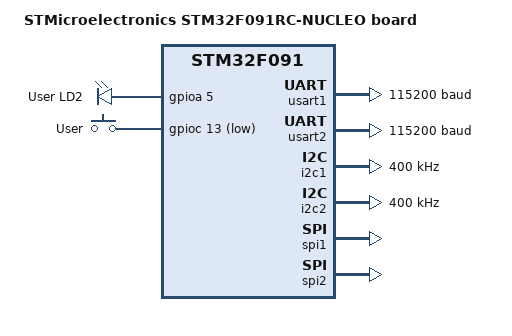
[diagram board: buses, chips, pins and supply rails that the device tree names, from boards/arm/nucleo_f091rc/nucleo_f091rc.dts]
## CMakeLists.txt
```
cmake_minimum_required(VERSION 3.13.1)
# set(BOARD nrf52_pca10040)
set(BOARD_ROOT ${CMAKE_CURRENT_LIST_DIR})
# set(BOARD tc_bait_p1)
set(BOARD nucleo_f091rc)

include($ENV{ZEPHYR_BASE}/cmake/app/boilerplate.cmake NO_POLICY_SCOPE)
project(toggle_led)
set (CMAKE_CXX_FLAGS "${CMAKE_CXX_FLAGS} -fpermissive")


list(APPEND HEADERS
    "${PROJECT_BINARY_DIR}/include/generated"
    "${PROJECT_BINARY_DIR}/zephyr/include/generated"
    "${PROJECT_SOURCE_DIR}/include"
    "${PROJECT_SOURCE_DIR}/../../zeta/"
    )

list(APPEND SOURCES
    "${PROJECT_SOURCE_DIR}/src/main.cpp"
    # "${PROJECT_SOURCE_DIR}/src/main.c"
    "${PROJECT_SOURCE_DIR}/../../zeta/zeta.cpp"
    )


include_directories(${HEADERS})
target_sources(app PRIVATE ${SOURCES})

include(${PROJECT_SOURCE_DIR}/mcumgr.cmake NO_POLICY_SCOPE)
# target_include_directories(app PRIVATE $ENV{ZEPHYR_BASE}/subsys/fs/nvs)
```

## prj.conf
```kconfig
CONFIG_CPLUSPLUS=y
CONFIG_GPIO=y
# CONFIG_SHELL=y
# CONFIG_SHELL_BACKENDS=y
# CONFIG_SHELL_BACKEND_SERIAL=y

CONFIG_LOG=y
CONFIG_LOG_DEFAULT_LEVEL=4
CONFIG_BOOTLOADER_MCUBOOT=y
# CONFIG_MCUMGR=y
# CONFIG_MCUMGR_SMP_UART=y
# CONFIG_UART_MCUMGR_ON_DEV_NAME="UART_0"

CONFIG_FLASH=y
CONFIG_NVS_PROTECT_FLASH=y
#CONFIG_FLASH_MAP=y
#CONFIG_FLASH_PAGE_LAYOUT=y

#
# File Systems
#
# CONFIG_FILE_SYSTEM is not set
CONFIG_NVS=y
# CONFIG_NVS_LOG_LEVEL_OFF is not set
# CONFIG_NVS_LOG_LEVEL_ERR is not set
# CONFIG_NVS_LOG_LEVEL_WRN is not set
CONFIG_NVS_LOG_LEVEL_INF=y
# CONFIG_NVS_LOG_LEVEL_DBG is not set
CONFIG_NVS_LOG_LEVEL=3
# CONFIG_NVS_PROTECT_FLASH=y

#
# Watchdog
#
CONFIG_WATCHDOG=y
CONFIG_WDT_0_NAME="WATCHDOG_0"
# CONFIG_WDT_DISABLE_AT_BOOT is not set
# CONFIG_WDT_LOG_LEVEL_OFF is not set
# CONFIG_WDT_LOG_LEVEL_ERR is not set
# CONFIG_WDT_LOG_LEVEL_WRN is not set
CONFIG_WDT_LOG_LEVEL_INF=y
# CONFIG_WDT_LOG_LEVEL_DBG is not set
CONFIG_WDT_LOG_LEVEL=3
# CONFIG_WDT_QMSI is not set
CONFIG_IWDG_STM32_START_AT_BOOT=y
# 20 seconds
CONFIG_IWDG_STM32_TIMEOUT=20000000

#
# Management
#
CONFIG_MCUMGR=y
CONFIG_MCUMGR_CMD_IMG_MGMT=y
CONFIG_IMG_MGMT_UL_CHUNK_SIZE=512
# CONFIG_MCUMGR_CMD_LOG_MGMT is not set
# CONFIG_MCUMGR_CMD_OS_MGMT is not set
CONFIG_APP_LINK_WITH_MCUMGR=y
# CONFIG_MCUMGR_SMP_BT is not set
# CONFIG_MCUMGR_SMP_SHELL is not set
CONFIG_MCUMGR_SMP_UART=y
CONFIG_MCUMGR_SMP_UART_MTU=256
CONFIG_MCUMGR_BUF_COUNT=4
CONFIG_MCUMGR_BUF_SIZE=384
CONFIG_MCUMGR_BUF_USER_DATA_SIZE=4
CONFIG_UART_MCUMGR=y
# CONFIG_UART_MCUMGR_ON_DEV_NAME="UART_2"
CONFIG_UART_MCUMGR_RX_BUF_SIZE=128
CONFIG_UART_MCUMGR_RX_BUF_COUNT=2
CONFIG_NET_BUF=y
CONFIG_NET_BUF_USER_DATA_SIZE=7
# Enable flash operations.
CONFIG_FLASH=y
# Some command handlers require a large stack.
CONFIG_SYSTEM_WORKQUEUE_STACK_SIZE=2048
CONFIG_REBOOT=y
```

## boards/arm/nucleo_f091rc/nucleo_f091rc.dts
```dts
/*
 * Copyright (c) 2017 Bobby Noelte
 *
 * SPDX-License-Identifier: Apache-2.0
 */

/dts-v1/;
#include <st/f0/stm32f091Xc.dtsi>

/ {
	model = "STMicroelectronics STM32F091RC-NUCLEO board";
	compatible = "st,stm32f091rc-nucleo", "st,stm32f091";

	chosen {
		zephyr,console = &usart2;
		zephyr,shell-uart = &usart2;
		zephyr,sram = &sram0;
		zephyr,flash = &flash0;
	};

	leds {
		compatible = "gpio-leds";
		green_led_2: led_2 {
			gpios = <&gpioa 5 GPIO_INT_ACTIVE_HIGH>;
			label = "User LD2";
		};
	};

	gpio_keys {
		compatible = "gpio-keys";
		user_button: button {
			label = "User";
			gpios = <&gpioc 13 GPIO_INT_ACTIVE_LOW>;
		};
	};

	aliases {
		led0 = &green_led_2;
		sw0 = &user_button;
	};
};

&usart1 {
	current-speed = <115200>;
	pinctrl-0 = <&usart1_pins_a>;
	pinctrl-names = "default";
};

&usart2 {
	current-speed = <115200>;
	pinctrl-0 = <&usart2_pins_a>;
	pinctrl-names = "default";
	status = "ok";
};

arduino_i2c: &i2c1 {
	status = "ok";
	clock-frequency = <I2C_BITRATE_FAST>;
};

&i2c2 {
	status = "ok";
	clock-frequency = <I2C_BITRATE_FAST>;
};

arduino_spi: &spi1 {
	status = "ok";
};

&spi2 {
	status = "ok";
};

&flash0 {
	/*
	 * For more information, see:
	 * http://docs.zephyrproject.org/latest/devices/dts/flash_partitions.html
	 */
	partitions {
		compatible = "fixed-partitions";
		#address-cells = <1>;
		#size-cells = <1>;

		boot_partition: partition@0 {
			label = "mcuboot";
			reg = <0x00000000 0xc000>; // 12 sectors 48KB
		};
		slot0_partition: partition@c000 {
			label = "image-0";
			reg = <0x0000c000 0x14000>; // 20 sectors 80KB
		};
		slot1_partition: partition@20000 {
			label = "image-1";
			reg = <0x00020000 0x14000>; // 20 sectors 80KB
		};
		scratch_partition: partition@34000 {
			label = "image-scratch";
			reg = <0x0034000 0x4000>; // 4 sectors 32KB
		};
		storage_partition: partition@38000 {
			label = "storage";
			reg = <0x0038000 0x8000>; // 8 sectors 32KB
			// reg = <0x003c000 0x1000>; // 6 sectors 24KB
		};
	};
};
```

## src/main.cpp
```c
/*
 * Copyright (c) 2015-2016 Wind River Systems, Inc.
 *
 * Licensed under the Apache License, Version 2.0 (the "License");
 * you may not use this file except in compliance with the License.
 * You may obtain a copy of the License at
 *
 *     http://www.apache.org/licenses/LICENSE-2.0
 *
 * Unless required by applicable law or agreed to in writing, software
 * distributed under the License is distributed on an "AS IS" BASIS,
 * WITHOUT WARRANTIES OR CONDITIONS OF ANY KIND, either express or implied.
 * See the License for the specific language governing permissions and
 * limitations under the License.
 */


#include <device.h>
#include <errno.h>
#include <gpio.h>
#include <logging/log.h>
#include <misc/printk.h>
#include <nvs/nvs.h>
#include <shell/shell.h>
#include <shell/shell_fprintf.h>
#include <string.h>
#include <watchdog.h>
#include <zephyr.h>

#include "zeta.hpp"

LOG_MODULE_REGISTER(MAIN);

#define LED_PORT LED0_GPIO_CONTROLLER
#define LED0 LED0_GPIO_PIN

#define BUTTON0_PIN SW0_GPIO_PIN
#define BUTTON_GPIO_CONTROLLER SW0_GPIO_CONTROLLER

#define NVS_SECTOR_SIZE 4096
#define NVS_SECTOR_COUNT 8
#define NVS_STORAGE_OFFSET FLASH_AREA_STORAGE_OFFSET

#ifdef CONFIG_MCUMGR_CMD_IMG_MGMT
#include "img_mgmt/img_mgmt.h"
#endif

typedef enum { TC_MODE, TC_PERIOD } property_e;

struct device *wdt_dev;

zt::GPIOController gpioController(BUTTON_GPIO_CONTROLLER,
                                  [](struct device *dev, struct gpio_callback *cb,
                                     u32_t pins) {
                                      gpioController.notifyObservers(dev, pins);
                                  });


int main(void)
{
#ifdef CONFIG_MCUMGR_CMD_IMG_MGMT
    img_mgmt_register_group();
#endif

    static struct nvs_fs fs = {0};
    fs.sector_size          = NVS_SECTOR_SIZE;
    fs.sector_count         = NVS_SECTOR_COUNT;
    fs.offset               = NVS_STORAGE_OFFSET;

    int error = nvs_init(&fs, DT_FLASH_DEV_NAME);
    if (error) {
        LOG_ERR("Could not load %s, error code %d!\n", DT_FLASH_DEV_NAME, error);
    } else {
        u8_t data = 0;
        int rc    = nvs_read(&fs, TC_MODE, &data, 1);
        if (rc == 1) {
            LOG_DBG("Data recovered: %02Xh\n", data);
        } else {
            data = 0xFA;
            rc   = nvs_write(&fs, TC_MODE, &data, 1);
            if (rc == 1) {
                LOG_DBG("Data persisted: %02Xh\n", data);
            } else {
                LOG_ERR("Could not persist the data %02Xh on flash", data);
            }
        }
    }
    zt::DigitalOutput led0(ZT_ALLOC_BYTE(), LED_PORT, LED0);
    zt::DigitalInput button0(ZT_ALLOC_BYTES(1), BUTTON_GPIO_CONTROLLER, BUTTON0_PIN);
    button0.connect(&led0, 't');
    gpioController.add_observer(&button0);

    wdt_dev = device_get_binding(CONFIG_WDT_0_NAME);
    LOG_WRN("Starting a new mainloop right now!");
    while (1) {
        k_sleep(K_SECONDS(15));
        wdt_reload(wdt_dev);  // feed/reload watchdog
    }

    return 0;
}
```

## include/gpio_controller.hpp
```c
/**!
 * @file gpio_controller.hpp
 * @author Rodrigo Peixoto (rodrigopex@edge.ufal.br)
 * @brief
 * @version 0.1
 * @date 2019-01-28
 *
 */

#include <device.h>
#include <gpio.h>
#include <misc/printk.h>
#include <zephyr.h>

#define MAX_INPUT_PINS 4

#include "pin_interface.hpp"


class GPIOController
{
   public:
    void init(PinInput *pin_input)
    {
        if (pin_input && m_device == nullptr) {
            m_device = pin_input->device();
            gpio_add_callback(m_device, &m_gpio_cb);
        }
        this->add_callback(pin_input);
    }
    int add_callback(PinInput *pin_input)
    {
        m_pin_mask = m_pin_mask | BIT(pin_input->pin());
        gpio_init_callback(&m_gpio_cb, &GPIOController::changed, m_pin_mask);
        printk("Error 2: %d\n", gpio_pin_enable_callback(m_device, pin_input->pin()));
        s8_t available = -1;
        bool exists    = false;
        for (u8_t i = 0; i < MAX_INPUT_PINS; i++) {
            if (m_pins[i] == nullptr) {
                available = i;
                break;
            } else if (m_pins[i] == pin_input) {
                exists = true;
                break;
            }
        }
        if (!exists) {
            if (available >= 0) {
                m_pins[available] = pin_input;
                printk("Pin added at %d\n", available);
            } else {
                printk("No more room for this item\n");
            }
        }
        return 0;
    }
    static void changed(struct device *dev, struct gpio_callback *cb, u32_t pins)
    {
        GPIOController *c = GPIOController::instance();
        for (u8_t i = 0; c->m_pins[i] && (i < MAX_INPUT_PINS); i++) {
            if (BIT(c->m_pins[i]->pin()) & pins) {
                c->m_pins[i]->callback();
            }
        }
    }
    static GPIOController *instance()
    {
        return &m_instance;
    }

   private:
    GPIOController() : m_device(nullptr)
    {
        m_pin_mask = 0;
        for (u8_t i = 0; i < MAX_INPUT_PINS; i++) {
            m_pins[i] = nullptr;
        }
    }
    struct gpio_callback m_gpio_cb;
    struct device *m_device;
    PinInput *m_pins[MAX_INPUT_PINS];
    static GPIOController m_instance;
    u32_t m_pin_mask;
};
```

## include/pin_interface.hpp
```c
#include <device.h>
#include <gpio.h>
#include <misc/printk.h>
#include <string.h>
#include <zephyr.h>

#define LED_PORT LED0_GPIO_CONTROLLER
#define LED LED1_GPIO_PIN

#define BUTTON0_PIN SW0_GPIO_PIN
#define BUTTON1_PIN SW1_GPIO_PIN
#define BUTTON2_PIN SW2_GPIO_PIN
#define BUTTON3_PIN SW3_GPIO_PIN
#define BUTTON_GPIO_CONTROLLER SW0_GPIO_CONTROLLER

typedef enum {
    VOLATILE_FLAG  = 0,
    IN_FLASH_FLAG  = 1 << 0,
    READ_ONLY_FLAG = 1 << 1
} PropertyFlag;

class Property
{
   public:
    virtual u8_t *data()
    {
        return m_data
    }
    virtual int setData(u8_t *data, size_t size)
    {
        if (size == m_size) {
            memcpy(m_data, data, size);
        }
    }
    virtual size_t size();
    virtual int notify() = 0;

   protected:
    u8_t m_changed;
    u8_t m_flags;
    size_t m_size;
    u8_t *m_data;
};

class HardProperty : public Property
{
   public:
    virtual struct device *device() = 0;
    virtual u32_t pin()             = 0;
    virtual int configureFlags()    = 0;
    virtual int read(u8_t *state)   = 0;
    virtual int write(u8_t state)   = 0;
};

class PinInput : public HardProperty
{
   protected:
    struct device *m_device;
    u32_t m_pin;

   public:
    PinInput(u8_t *data, const char *controller, u32_t pin) : m_pin(pin)
    {
        m_data   = data;
        m_device = device_get_binding(controller);
        gpio_pin_configure(m_device, m_pin, this->configureFlags());
    }
    int configureFlags()
    {
        return (GPIO_PUD_PULL_UP | GPIO_DIR_IN | GPIO_INT | GPIO_INT_EDGE
                | GPIO_INT_ACTIVE_LOW);
    }
    int read(u8_t *state)
    {
        *state = *m_data;
        return 0;
    }
    int callback()
    {
        u8_t state = 0;
        int error  = gpio_pin_read(m_device, m_pin, (u32_t *) &state);
        if (!error) {
            *m_data = state;
            this->notify();
        }
        return 0;
    }
    struct device *device()
    {
        return m_device;
    }
    u32_t pin()
    {
        return m_pin;
    }
    virtual int notify()
    {
        printk("Triggered pin %d:%d\n", m_pin, (u8_t) *m_data);
        return 0;
    }
};

class PinOutput : public HardProperty
{
   protected:
    struct device *m_device;
    u32_t m_pin;

   public:
    PinOutput(u8_t *data, const char *controller, u32_t pin) : m_pin(pin)
    {
        m_data   = data;
        m_device = device_get_binding(controller);
        gpio_pin_configure(m_device, m_pin, this->configureFlags());
    }
    int configureFlags()
    {
        return GPIO_DIR_OUT;
    }
    int read(u8_t *state)
    {
        return gpio_pin_read(m_device, m_pin, (u32_t *) state);
    }
    int write(u8_t state)
    {
        int error = gpio_pin_write(m_device, m_pin, state);
        if (!error) {
            *m_data = state;
            this->notify();
        }
        return error;
    }
    int toggle()
    {
        int error = gpio_pin_write(m_device, m_pin, !*m_data);
        if (!error) {
            *m_data = !*m_data;
            this->notify();
        }
        return error;
    }
    virtual int notify()
    {
        printk("State changed to %d\n", m_state);
        return 0;
    }
    struct device *device()
    {
        return m_device;
    }
    u32_t pin()
    {
        return m_pin;
    }
};
```

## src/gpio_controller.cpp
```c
#include "gpio_controller.hpp"

GPIOController GPIOController::m_instance = GPIOController();
```
